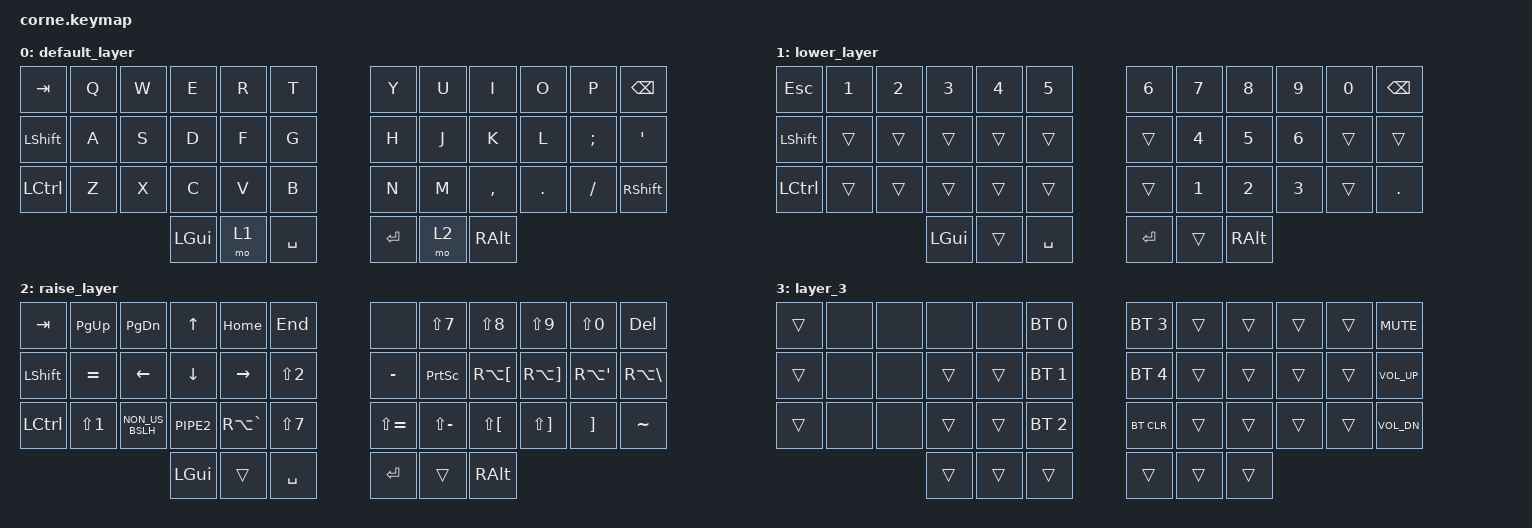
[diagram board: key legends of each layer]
/*
 * Copyright (c) 2020 The ZMK Contributors
 *
 * SPDX-License-Identifier: MIT
 */

#include <behaviors.dtsi>
#include <dt-bindings/zmk/keys.h>
#include <dt-bindings/zmk/bt.h>

/ {
    conditional_layers {
        compatible = "zmk,conditional-layers";

        capa3_conditional {
            if-layers = <1 2>;
            then-layer =<3>;
        };
    };
};


/ {
    keymap {
        compatible = "zmk,keymap";

        default_layer {
            // -----------------------------------------------------------------------------------------
            // |  TAB |  Q  |  W  |  E  |  R  |  T  |   |  Y  |  U   |  I  |  O  |  P  | BSPC |
            // | SHFT |  A  |  S  |  D  |  F  |  G  |   |  H  |  J   |  K  |  L  |  ;  |  '   |
            // | CTRL |  Z  |  X  |  C  |  V  |  B  |   |  N  |  M   |  ,  |  .  |  /  | SHFT  |
            //                    | GUI | LWR | SPC |   | ENT | RSE  | ALT |

            bindings = <
&kp TAB    &kp Q  &kp W  &kp E     &kp R  &kp T        &kp Y    &kp U  &kp I      &kp O    &kp P     &kp BSPC
&kp LSHFT  &kp A  &kp S  &kp D     &kp F  &kp G        &kp H    &kp J  &kp K      &kp L    &kp SEMI  &kp SQT
&kp LCTRL  &kp Z  &kp X  &kp C     &kp V  &kp B        &kp N    &kp M  &kp COMMA  &kp DOT  &kp FSLH  &kp RSHFT
                         &kp LGUI  &mo 1  &kp SPACE    &kp RET  &mo 2  &kp RALT
            >;
        };

        lower_layer {
            // -----------------------------------------------------------------------------------------
            // |  ESC |  1  |  2  |  3  |  4  |  5  |   |  6  |  7  |  8  |  9  |  0  | BSPC |
            // |      |     |     |     |     |     |   | LFT | DWN |  UP | RGT |     |      |
            // | SHFT |     |     |     |     |     |   |     |     |     |     |     |      |
            //                    | GUI |     | SPC |   | ENT |     | ALT |

            bindings = <
&kp ESC    &kp N1  &kp N2  &kp N3    &kp N4  &kp N5       &kp N6    &kp N7        &kp N8        &kp N9        &kp NUMBER_0  &kp BSPC
&kp LSHFT  &trans  &trans  &trans    &trans  &trans       &trans  &kp NUMBER_4  &kp N5        &kp NUMBER_6  &trans  &trans
&kp LCTRL  &trans  &trans  &trans    &trans  &trans       &trans    &kp NUMBER_1  &kp NUMBER_2  &kp NUMBER_3     &trans  &kp DOT
                           &kp LGUI  &trans  &kp SPACE    &kp RET   &trans    &kp RALT
            >;
        };

        raise_layer {
            // -----------------------------------------------------------------------------------------
            // |  TAB |  !  |  @  |  #  |  $  |  %  |   |  ^  |  &  |  *  |  (  |  )  | BSPC |
            // | CTRL |     |     |     |     |     |   |  -  |  =  |  [  |  ]  |  \  |  `   |
            // | SHFT |     |     |     |     |     |   |  _  |  +  |  {  |  }  | "|" |  ~   |
            //                    | GUI |     | SPC |   | ENT |     | ALT |

            bindings = <
&kp TAB    &kp PG_UP   &kp PG_DN        &kp UP       &kp HOME         &kp END               &none           &kp LS(N7)     &kp LS(N8)     &kp LS(N9)    &kp LS(N0)    &kp DEL
&kp LSHFT  &kp EQUAL   &kp LEFT         &kp DOWN     &kp RIGHT        &kp LS(N2)            &kp MINUS       &kp PSCRN      &kp RA(LBKT)   &kp RA(RBKT)  &kp RA(APOS)  &kp RA(BACKSLASH) 
&kp LCTRL  &kp LS(N1)  &kp NON_US_BSLH  &kp PIPE2    &kp RA(GRAVE)    &kp LS(N7)            &kp LS(EQUAL)   &kp LS(MINUS)  &kp LS(LBKT)   &kp LS(RBKT)  &kp RBKT      &kp TILDE
                                        &kp LGUI     &trans           &kp SPACE             &kp RET         &trans         &kp RALT
            >;
        };

        layer_3 {
            bindings = <
&trans      &none       &none         &none                  &none             &bt BT_SEL 0         &bt BT_SEL 3    &trans       &trans       &trans        &trans        &kp C_MUTE
&trans      &none       &none         &trans                 &trans            &bt BT_SEL 1         &bt BT_SEL 4    &trans       &trans       &trans        &trans        &kp C_VOL_UP
&trans      &none       &none         &trans                 &trans            &bt BT_SEL 2         &bt BT_CLR      &trans       &trans       &trans        &trans        &kp C_VOL_DN
                                      &trans                 &trans            &trans               &trans          &trans       &trans
            >;
        };
    };
};
